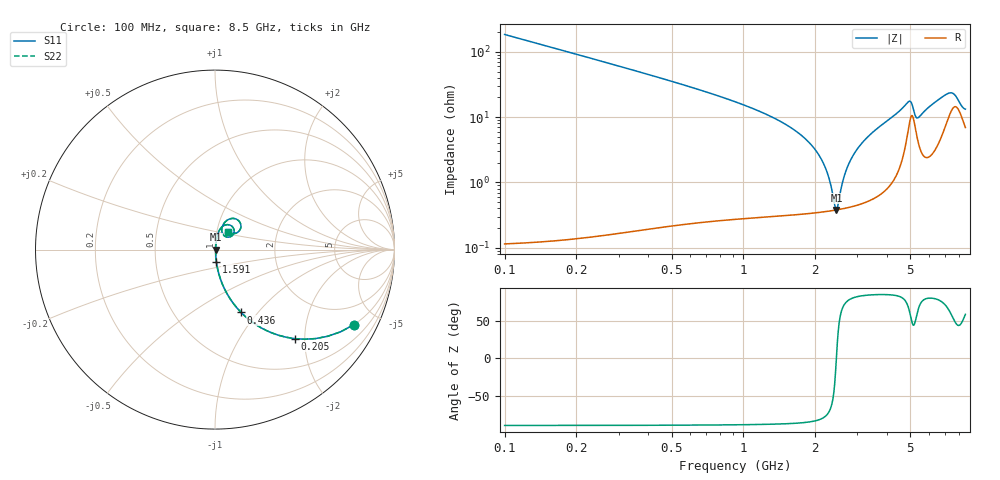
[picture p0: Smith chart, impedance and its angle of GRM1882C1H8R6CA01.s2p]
!Murata Part Number: GRM1882C1H8R6CA01
!These Parameters are Measured in Series Mode Connection
!Data Generated on Mar 30, 2021
!  o--ll--o
!Port1  Port2
!  o------o
!Operation Temp=25[degC], DC Bias Voltage=0[V]
!Freq. Start=100[MHz] Stop=9[GHz] 401[Steps]
# Hz S RI R 50
!Freq.(Hz) S11(Real) S11(Imag) S21(Real) S21(Imag) S12(Real) S12(Imag) S22(Real) S22(Imag)
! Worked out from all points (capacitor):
!   401 points, 100 MHz to 8.5 GHz, reference 50 ohm
!   read as one part in series: C = 8.61 pF near 142 MHz
!   lowest |Z| = 379 mohm at 2.452 GHz (marker M1)
!   series resonance near 2.45 GHz, so ESL is about 490 pH
!   S11 on the Smith chart (normalised r, x): 100 MHz: 1.00, -3.69; 205 MHz: 1.00, -1.79; 436 MHz: 1.00, -0.82; 1.591 GHz: 1.01, -0.14; 8.5 GHz: 1.14, +0.23
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1e8  0.7732 -0.4184  0.2268 0.4184  0.2268 0.4184  0.7732 -0.4184
2.05e8  0.4453 -0.4962  0.5547 0.4962  0.5547 0.4962  0.4453 -0.4962
3.1e8  0.2568 -0.4354  0.7432 0.4354  0.7432 0.4354  0.2568 -0.4354
4.36e8  0.1454 -0.3501  0.8546 0.3501  0.8546 0.3501  0.1454 -0.3501
8.56e8  0.0371 -0.1822  0.9629 0.1822  0.9629 0.1822  0.0371 -0.1822
1.507e9  0.00891 -0.0759  0.9911 0.0759  0.9911 0.0759  0.00891 -0.0759
1.591e9  0.00768 -0.0671  0.9923 0.0671  0.9923 0.0671  0.00768 -0.0671
1.906e9  0.00483 -0.0386  0.9952 0.0386  0.9952 0.0386  0.00483 -0.0386
2.116e9  0.00399 -0.0225  0.996 0.0225  0.996 0.0225  0.00399 -0.0225
2.263e9  0.00375 -0.0122  0.9962 0.0122  0.9962 0.0122  0.00375 -0.0122
2.41e9  0.00374 -0.00256  0.9963 0.00256  0.9963 0.00256  0.00374 -0.00256
2.452e9  0.00377 9.56e-05  0.9962 -9.56e-05  0.9962 -9.56e-05  0.00377 9.56e-05
2.662e9  0.00416 0.0129  0.9958 -0.0129  0.9958 -0.0129  0.00416 0.0129
2.914e9  0.00507 0.0273  0.9949 -0.0273  0.9949 -0.0273  0.00507 0.0273
3.418e9  0.00831 0.0543  0.9917 -0.0543  0.9917 -0.0543  0.00831 0.0543
4.3e9  0.0223 0.1036  0.9777 -0.1036  0.9777 -0.1036  0.0223 0.1036
4.93e9  0.0874 0.1346  0.9126 -0.1346  0.9126 -0.1346  0.0874 0.1346
5.308e9  0.0571 0.073  0.9429 -0.073  0.9429 -0.073  0.0571 0.073
5.707e9  0.0374 0.1119  0.9626 -0.1119  0.9626 -0.1119  0.0374 0.1119
7.114e9  0.111 0.1723  0.889 -0.1723  0.889 -0.1723  0.111 0.1723
7.576e9  0.1443 0.1357  0.8557 -0.1357  0.8557 -0.1357  0.1443 0.1357
8.5e9  0.0751 0.0976  0.9249 -0.0976  0.9249 -0.0976  0.0751 0.0976
